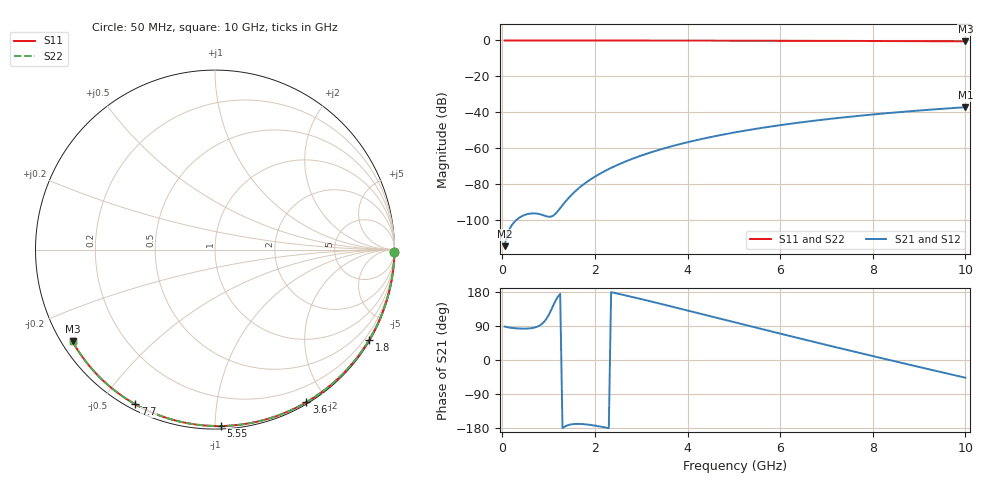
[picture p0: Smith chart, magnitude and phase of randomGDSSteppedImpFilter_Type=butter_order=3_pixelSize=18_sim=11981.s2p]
! freq	dB(S11)	phase(S11)	dB(S12)	phase(S12)
!  dB(S21)	phase(S21)	dB(S22)	phase(S22)
!S-par simulation data
#  GHz  S  DB  R 50
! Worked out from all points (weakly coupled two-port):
!   200 points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, 50 MHz to 10 GHz, reference 50 ohm
!   highest |S21| = -37.26 dB at 10 GHz (marker M1); lowest = -114.8 dB at 50 MHz (marker M2)
!   lowest |S11| = -0.5 dB at 10 GHz (marker M3), VSWR 35.03, Z = 1.55 - j14.7 ohm
!   |S11| at or under -10 dB: nowhere
!   |S22| runs from -0.5 to 0.0 dB; largest |S21 - S12| = 0
!   S11 on the Smith chart (normalised r, x): 50 MHz: open; 1.8 GHz: 0.03, -3.69; 3.6 GHz: 0.02, -1.76; 5.55 GHz: 0.02, -1.04; 7.7 GHz: 0.02, -0.61; 10 GHz: 0.03, -0.29
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0.05  -0.00 -0.9  -114.82 88.2  -114.82 88.2  -0.00 -0.9
0.45  -0.01 -7.7  -97.74 82.8  -97.74 82.8  -0.01 -7.7
0.9  -0.02 -15.3  -97.69 100.3  -97.69 100.3  -0.02 -15.3
1.3  -0.03 -22.0  -91.94 -179.6  -91.94 -179.6  -0.03 -22.0
1.75  -0.04 -29.5  -80.41 -169.2  -80.41 -169.2  -0.04 -29.5
1.8  -0.04 -30.3  -79.44 -169.8  -79.44 -169.8  -0.04 -30.3
1.95  -0.04 -32.8  -76.82 -172.1  -76.82 -172.1  -0.04 -32.8
2.1  -0.04 -35.3  -74.50 -175.2  -74.50 -175.2  -0.04 -35.2
2.3  -0.05 -38.5  -71.75 -179.9  -71.75 -179.9  -0.05 -38.5
2.5  -0.05 -41.7  -69.33 174.9  -69.33 174.9  -0.05 -41.7
2.9  -0.06 -48.2  -65.18 163.6  -65.18 163.6  -0.06 -48.1
3.4  -0.07 -56.0  -60.94 148.8  -60.94 148.8  -0.07 -56.0
3.6  -0.08 -59.1  -59.46 142.8  -59.46 142.8  -0.08 -59.1
4.3  -0.10 -69.8  -55.02 121.5  -55.02 121.5  -0.10 -69.8
5.05  -0.12 -80.8  -51.18 98.5  -51.18 98.5  -0.12 -80.8
5.55  -0.14 -88.0  -49.01 83.3  -49.01 83.3  -0.14 -88.0
6.1  -0.17 -95.7  -46.91 66.6  -46.91 66.6  -0.17 -95.7
6.7  -0.20 -103.9  -44.90 48.6  -44.90 48.6  -0.20 -103.9
7.7  -0.27 -117.3  -42.06 19.1  -42.06 19.1  -0.27 -117.3
8.35  -0.32 -125.8  -40.49 0.2  -40.49 0.2  -0.32 -125.8
9.2  -0.40 -136.8  -38.70 -24.1  -38.70 -24.1  -0.40 -136.8
10  -0.50 -147.2  -37.26 -46.8  -37.26 -46.8  -0.50 -147.2
